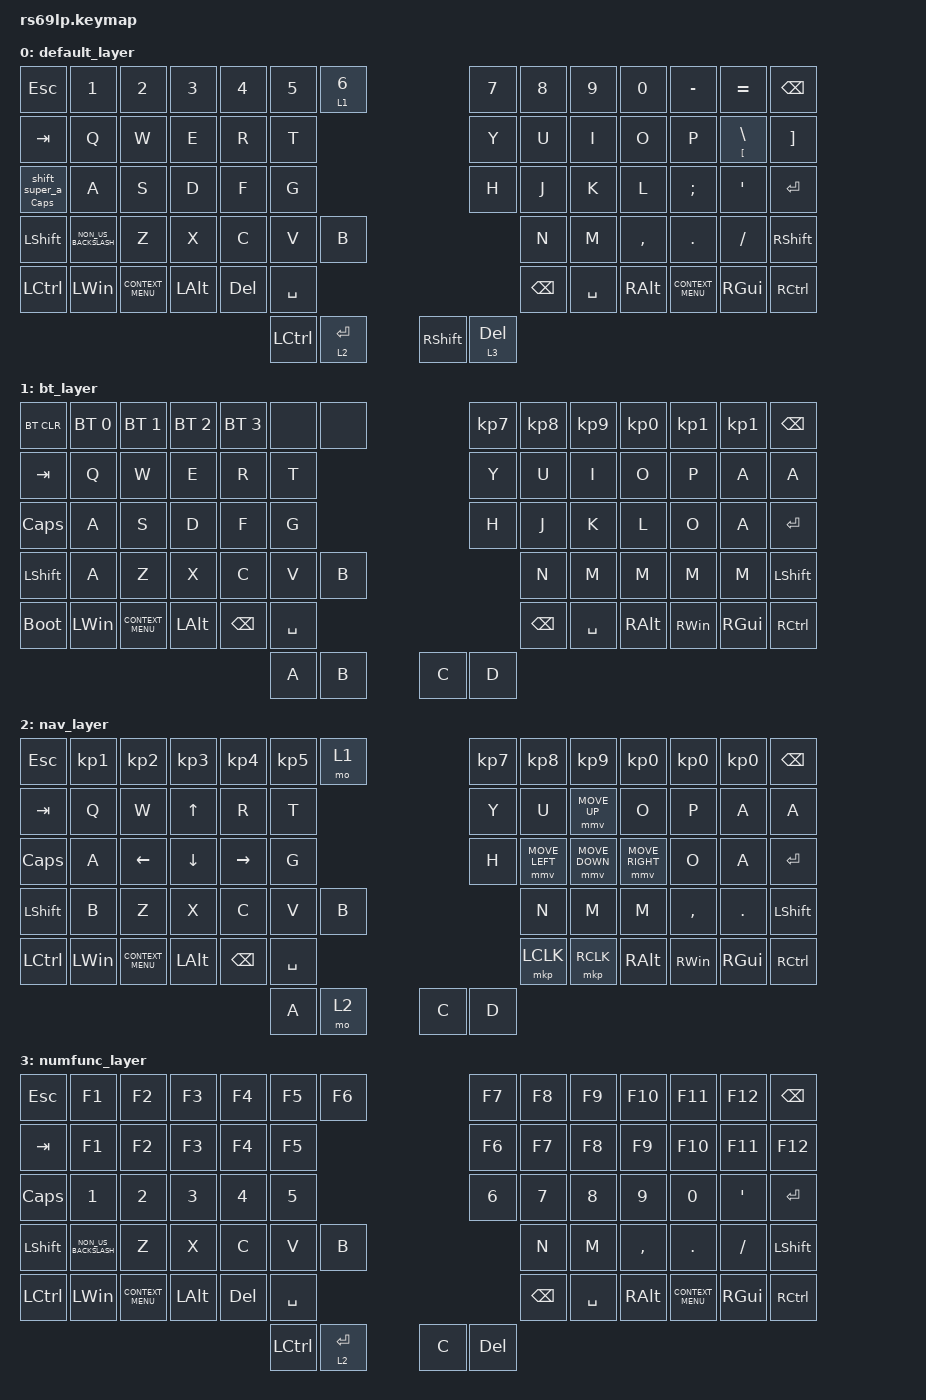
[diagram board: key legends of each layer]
#include <behaviors.dtsi>
#include <dt-bindings/zmk/keys.h>
#include <dt-bindings/zmk/bt.h>
#include <dt-bindings/zmk/pointing.h>

// Layer definitions
#define BASE 0
#define BT 1
#define NAV 2
#define NUMFUNC 3


&lt {
    tapping-term-ms = <200>;
};


/ {      
  macros {
          shift_super_a: shift_super_a {
            compatible = "zmk,behavior-macro";
            #binding-cells = <0>;
            bindings
                = <&macro_press &kp LEFT_ALT &kp LWIN>
                , <&macro_tap &kp K>
                , <&macro_release &kp LEFT_ALT &kp LWIN>
                ;
        };
    };
};


/ {      
  behaviors {
     mutemiccaps: double-bracket {
               compatible = "zmk,behavior-hold-tap";
               label = "DOUBLE_BRACKET";
               #binding-cells = <2>;
               flavor = "tap-preferred";
               tapping-term-ms = <300>;
               quick-tap-ms = <125>;
               global-quick-tap;
               bindings = <&kp>, <&shift_super_a>;
          };
    };
};


/ {       

    keymap {
        compatible = "zmk,keymap";
        default_layer {
            bindings = <
            // ╭────────────────────┬─────────────────────┬─────────────────────┬─────────────────────┬─────────────────────┬─────────────────────┬──────────────────────╮                                     ╭─────────────────────┬─────────────────────┬─────────────────────┬─────────────────────┬─────────────────────┬─────────────────────┬──────────────────────╮
            // | ESC                | 1                   | 2                   | 3                   | 4                   | 5                   | 6 & BT LAYER         |                                     | 7                   | 8                   | 9                   | 0                   | ? +                 | `´                  | BACKSPACE            |
                 &kp ESC              &kp N1                &kp N2                &kp N3                &kp N4                &kp N5                &lt 1 N6                                                     &kp N7                &kp N8                &kp N9                &kp N0                &kp MINUS              &kp EQUAL             &kp BSPC
            // ├────────────────────┼─────────────────────┼─────────────────────┼─────────────────────┼─────────────────────┼─────────────────────┼──────────────────────╯                                     ╭──────────────────────┼─────────────────────┼─────────────────────┼─────────────────────┼─────────────────────┼─────────────────────┼─────────────────────┤
            // | TAB                | Q                   | W                   | E                   | R                   | T                   |                                                            | Y                    | U                   | I                   | O                   | P                   | *' (hold Å)         | "^~                 |                       
                 &kp TAB              &kp Q                 &kp W                 &kp E                 &kp R                 &kp T                                                                               &kp Y                  &kp U                 &kp I                 &kp O                 &kp P                 &mt LEFT_BRACKET BACKSLASH        &kp RIGHT_BRACKET    
            // ├────────────────────┼─────────────────────┼─────────────────────┼─────────────────────┼─────────────────────┼─────────────────────┤                                                            ╰──────────────────────┼─────────────────────┼─────────────────────┼─────────────────────┼─────────────────────┼─────────────────────┼─────────────────────┤
            // | CAPSLOCK           | A                   | S                   | D                   | F                   | G                   |                                                             | H                   | J                   | K                   | L                   | Ö                   | Ä                   | ENTER                |
                 &mutemiccaps CAPS 0         &kp A                 &kp S                 &kp D                 &kp F                 &kp G                                                                              &kp H                 &kp J                 &kp K                 &kp L                 &kp SEMICOLON         &kp SINGLE_QUOTE      &kp ENTER
            // ├────────────────────┼─────────────────────┼─────────────────────┼─────────────────────┼─────────────────────┼─────────────────────┼─────────────────────╮                                       ╰─────────────────────┼─────────────────────┼─────────────────────┼─────────────────────┼─────────────────────┼─────────────────────┼──────────────────────┤
            //   LEFT SHIFT         | <> |                | Z                   | X                   | C                   | V                   | B                   |                                                            | N                   | M                   | , ;                 | . :                 |  - _                | RIGHT SHIFT
                 &kp LSHIFT           &kp NON_US_BACKSLASH  &kp Z                 &kp X                 &kp C                 &kp V                 &kp B                                                                              &kp N                &kp M                  &kp COMMA             &kp DOT               &kp SLASH             &kp RSHIFT
            // ├────────────────────┼─────────────────────┼─────────────────────┼─────────────────────┼─────────────────────┴─────────────────────┴─────────────────────╯                                                            ├─────────────────────┼─────────────────────┼─────────────────────┼─────────────────────┼─────────────────────┼──────────────────────┤
            // | LEFT CONTROL       | LEFT SUPER          | CONTECT MENU        |  LEFT ALT           | BACKSPACE           | SPACE               |                                                                                  |      BACKSPACE           | SPACE               | RIGHT ALT           | CONTEXT MENU        | RIGHT GUI           | RIGHT CONTROL
                 &kp LCTRL            &kp LWIN              &kp K_CONTEXT_MENU     &kp LALT            &kp DELETE             &kp SPACE                                                                                                 &kp BSPC             &kp SPACE             &kp RALT              &kp K_CONTEXT_MENU    &kp RGUI              &kp RCTRL
            // ╰────────────────────┴─────────────────────┴─────────────────────┴─────────────────────┴─────────────────────┼─────────────────────┬─────────────────────╮              ╭──────────────────────┬──────────────────────┬─────────────────────┴─────────────────────┴─────────────────────┴─────────────────────┴─────────────────────┴──────────────────────╯                                    
            //                                                                                                              | LEFT CONTROL        | L-NAV ENTER         |              | C                      RIGHT SUPER               |
                                                                                                                              &kp LCTRL             &lt 2 ENTER                          &kp RSHIFT             &lt 3 DELETE
            //                                                                                                              ╰─────────────────────┴─────────────────────╯              ╰──────────────────────┴──────────────────────╯
            >;
        };




        bt_layer {
            bindings = <
            
                &bt BT_CLR  &bt BT_SEL 0    &bt BT_SEL 1    &bt BT_SEL 2    &bt BT_SEL 3    &none          &none                &kp KP_N7   &kp KP_N8   &kp KP_N9   &kp KP_N0   &kp KP_N1   &kp KP_N1   &kp BSPC
                &kp TAB     &kp Q           &kp W           &kp E           &kp R           &kp T                             &kp Y    &kp U       &kp I        &kp O      &kp P       &kp A       &kp A      
                &kp CAPS    &kp A           &kp S           &kp D           &kp F           &kp G                                    &kp H       &kp J        &kp K      &kp L       &kp O       &kp A       &kp RET
                &kp LSHIFT  &kp A           &kp Z           &kp X           &kp C           &kp V           &kp B                                &kp N        &kp M      &kp M       &kp M       &kp M       &kp LSHIFT
                &bootloader &kp LWIN        &kp K_CONTEXT_MENU &kp LALT        &kp BSPC        &kp SPACE                                                      &kp BSPC       &kp SPACE  &kp RALT    &kp RWIN    &kp RGUI    &kp RCTRL
                                                                            &kp A           &kp B                           &kp C    &kp D
            >;
        };
        
        nav_layer {
            bindings = <
                &kp ESC     &kp KP_N1   &kp KP_N2   &kp KP_N3   &kp KP_N4   &kp KP_N5   &mo 1                  &kp KP_N7   &kp KP_N8   &kp KP_N9   &kp KP_N0   &kp KP_N0   &kp KP_N0   &kp BSPC
                &kp TAB     &kp Q       &kp W       &kp UP_ARROW       &kp R       &kp T                       &kp Y       &kp U  &mmv MOVE_UP   &kp O      &kp P       &kp A       &kp A       
                &kp CAPS    &kp A       &kp LEFT_ARROW       &kp DOWN_ARROW       &kp RIGHT_ARROW       &kp G                                   &kp H       &mmv MOVE_LEFT        &mmv MOVE_DOWN     &mmv MOVE_RIGHT      &kp O       &kp A       &kp ENTER
                &kp LSHIFT  &kp B       &kp Z       &kp X       &kp C       &kp V       &kp B                                   &kp N        &kp M      &kp M       &kp COMMA       &kp DOT      &kp LSHIFT
                &kp LCTRL   &kp LWIN    &kp K_CONTEXT_MENU &kp LALT    &kp BSPC   &kp SPACE                                                        &mkp LCLK     &mkp RCLK  &kp RALT    &kp RWIN    &kp RGUI    &kp RCTRL
                                                                            &kp A       &mo 2           &kp C       &kp D
            >;
        };

        numfunc_layer {
            bindings = <
            // ╭────────────────────┬─────────────────────┬─────────────────────┬─────────────────────┬─────────────────────┬─────────────────────┬──────────────────────╮                                     ╭─────────────────────┬─────────────────────┬─────────────────────┬─────────────────────┬─────────────────────┬─────────────────────┬──────────────────────╮
            // | ESC                | F1                  | F2                  | F3                  | F4                  | F5                  | F6                   |                                     | F7                   | F8                 | F9                  | F10                 | F11                 | F12                 | BACKSPACE            |
                 &kp ESC              &kp F1                &kp F2                &kp F3                &kp F4                &kp F5                &kp F6                                                       &kp F7                &kp F8                &kp F9                &kp F10               &kp F11               &kp F12               &kp BSPC
            // ├────────────────────┼─────────────────────┼─────────────────────┼─────────────────────┼─────────────────────┼─────────────────────┼──────────────────────╯                                     ╭──────────────────────┼─────────────────────┼─────────────────────┼─────────────────────┼─────────────────────┼─────────────────────┼─────────────────────┤
            // | TAB                | F1                  | F2                  | F3                  | F4                  | F5                  |                                                            | F6                   | F7                   | F8                 | F9                  | F10                 | F11                 | F12                 |                                 
                 &kp TAB              &kp F1                &kp F2                &kp F3                &kp F4                &kp F5                                                                            &kp F6                 &kp F7                 &kp F8                &kp F9                &kp F10               &kp F11               &kp F12              
            // ├────────────────────┼─────────────────────┼─────────────────────┼─────────────────────┼─────────────────────┼─────────────────────┤                                                            ╰──────────────────────┼─────────────────────┼─────────────────────┼─────────────────────┼─────────────────────┼─────────────────────┼─────────────────────┤
            // | CAPSLOCK           | 1                   | 2                   | 3                   | 4                   | 5                   |                                                            | 6                   | 7                   | 8                   | 9                   | 0                   | Ä                   | ENTER                |
                 &kp CAPS             &kp N1                &kp N2                &kp N3                &kp N4                &kp N5                                                                             &kp N6                &kp N7                &kp N8                &kp N9                &kp N0                &kp SINGLE_QUOTE      &kp ENTER
            // ├────────────────────┼─────────────────────┼─────────────────────┼─────────────────────┼─────────────────────┼─────────────────────┼─────────────────────╮                                      ╰─────────────────────┼─────────────────────┼─────────────────────┼─────────────────────┼─────────────────────┼─────────────────────┼──────────────────────┤
            //   LEFT SHIFT         | <> |                | Z                   | X                   | C                   | V                   | B                   |                                                            | N                   | M                   | , ;                 | . :                 |  - _                | RIGHT SHIFT
                 &kp LSHIFT           &kp NON_US_BACKSLASH  &kp Z                 &kp X                 &kp C                 &kp V                 &kp B                                                                              &kp N                &kp M                  &kp COMMA             &kp DOT               &kp SLASH             &kp LSHIFT
            // ├────────────────────┼─────────────────────┼─────────────────────┼─────────────────────┼─────────────────────┴─────────────────────┴─────────────────────╯                                                            ├─────────────────────┼─────────────────────┼─────────────────────┼─────────────────────┼─────────────────────┼──────────────────────┤
            // | LEFT CONTROL       | LEFT SUPER          | CONTECT MENU        |  LEFT ALT           | BACKSPACE           | SPACE               |                                                                                  |      BACKSPACE           | SPACE               | RIGHT ALT           | CONTEXT MENU        | RIGHT GUI           | RIGHT CONTROL
                 &kp LCTRL            &kp LWIN              &kp K_CONTEXT_MENU     &kp LALT            &kp DELETE             &kp SPACE                                                                                                 &kp BSPC             &kp SPACE             &kp RALT              &kp K_CONTEXT_MENU    &kp RGUI              &kp RCTRL
            // ╰────────────────────┴─────────────────────┴─────────────────────┴─────────────────────┴─────────────────────┼─────────────────────┬─────────────────────╮              ╭──────────────────────┬──────────────────────┬─────────────────────┴─────────────────────┴─────────────────────┴─────────────────────┴─────────────────────┴──────────────────────╯                                    
            //                                                                                                             | LEFT CONTROL        | L-NAV ENTER         |              | C                      DELETE               |
                                                                                                                              &kp LCTRL             &lt 2 ENTER                          &kp C                  &kp DELETE
            //                                                                                                              ╰─────────────────────┴─────────────────────╯              ╰──────────────────────┴──────────────────────╯
            >;
        };
    
    };
};
 
